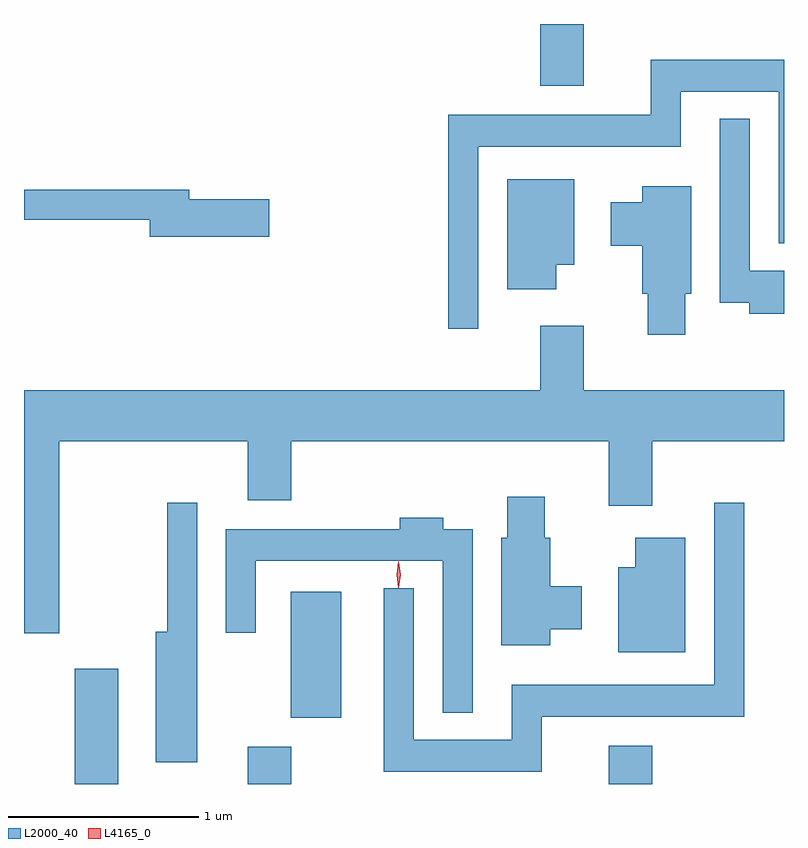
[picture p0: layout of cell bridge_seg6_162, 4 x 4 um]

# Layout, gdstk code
import gdstk
lib = gdstk.Library(unit=1e-6, precision=1e-09)
def R(c, l, rs):  # rectangles x0, y0, x1, y1
    for r in rs: c.add(gdstk.rectangle(r[:2], r[2:], *l))
def P(c, l, *ps):  # polygons
    for p in ps: c.add(gdstk.Polygon(p, *l))
L2000_40 = (2000, 40)
L4165_0 = (4165, 0)

bridge_seg6_162 = lib.new_cell('bridge_seg6_162')
R(bridge_seg6_162, L2000_40, [(1078.451,1581.532,1078.679,1582.139), (1079.361,1581.532,1079.589,1581.729), (1081.261,1581.532,1081.489,1581.734), (1079.586,1581.881,1079.854,1582.544), (1080.901,1585.206,1081.129,1585.532)])
P(bridge_seg6_162, L2000_40, [(1080.574,1584.886),(1081.639,1584.886),(1081.639,1585.176),(1082.156,1585.176),(1082.156,1584.378),(1082.183,1584.378),(1082.183,1585.344),(1081.481,1585.344),(1081.481,1585.054),(1080.416,1585.054),(1080.416,1583.928),(1080.574,1583.928)],
  [(1082.183,1584.234),(1082.004,1584.234),(1082.004,1585.033),(1081.846,1585.033),(1081.846,1584.066),(1082.001,1584.066),(1082.001,1584.006),(1082.183,1584.006)],
  [(1080.984,1584.266),(1081.079,1584.266),(1081.079,1584.714),(1080.726,1584.714),(1080.726,1584.136),(1080.984,1584.136)],
  [(1081.664,1584.111),(1081.694,1584.111),(1081.694,1584.679),(1081.436,1584.679),(1081.436,1584.594),(1081.271,1584.594),(1081.271,1584.366),(1081.436,1584.366),(1081.436,1584.111),(1081.466,1584.111),(1081.466,1583.896),(1081.664,1583.896)],
  [(1079.474,1584.609),(1079.054,1584.609),(1079.054,1584.659),(1078.183,1584.659),(1078.183,1584.501),(1078.846,1584.501),(1078.846,1584.411),(1079.474,1584.411)],
  [(1078.369,1583.336),(1079.361,1583.336),(1079.361,1583.026),(1079.589,1583.026),(1079.589,1583.336),(1081.261,1583.336),(1081.261,1582.996),(1081.489,1582.996),(1081.489,1583.336),(1082.183,1583.336),(1082.183,1583.604),(1081.129,1583.604),(1081.129,1583.944),(1080.901,1583.944),(1080.901,1583.604),(1078.183,1583.604),(1078.183,1582.326),(1078.369,1582.326)],
  [(1080.954,1582.346),(1081.119,1582.346),(1081.119,1582.574),(1080.954,1582.574),(1080.954,1582.829),(1080.924,1582.829),(1080.924,1583.044),(1080.726,1583.044),(1080.726,1582.829),(1080.696,1582.829),(1080.696,1582.261),(1080.954,1582.261)],
  [(1080.909,1581.886),(1081.974,1581.886),(1081.974,1583.013),(1081.816,1583.013),(1081.816,1582.054),(1080.751,1582.054),(1080.751,1581.764),(1080.234,1581.764),(1080.234,1582.563),(1080.076,1582.563),(1080.076,1581.596),(1080.909,1581.596)],
  [(1079.094,1583.013),(1078.936,1583.013),(1078.936,1582.334),(1078.876,1582.334),(1078.876,1581.646),(1079.094,1581.646)],
  [(1080.544,1582.874),(1080.389,1582.874),(1080.389,1582.934),(1080.161,1582.934),(1080.161,1582.874),(1079.246,1582.874),(1079.246,1582.328),(1079.404,1582.328),(1079.404,1582.706),(1080.386,1582.706),(1080.386,1581.908),(1080.544,1581.908)],
  [(1081.664,1582.829),(1081.401,1582.829),(1081.401,1582.674),(1081.311,1582.674),(1081.311,1582.226),(1081.664,1582.226)])
P(bridge_seg6_162, L4165_0, [(1080.154,1582.567),(1080.154,1582.568),(1080.144,1582.634),(1080.154,1582.7),(1080.154,1582.701),(1080.154,1582.7),(1080.164,1582.634),(1080.154,1582.568)],
  [(1080.154,1582.564),(1080.145,1582.634),(1080.154,1582.702),(1080.155,1582.703),(1080.156,1582.702),(1080.165,1582.634),(1080.156,1582.564),(1080.155,1582.564)])

lib.write_gds('bridge_seg6_162.gds')
